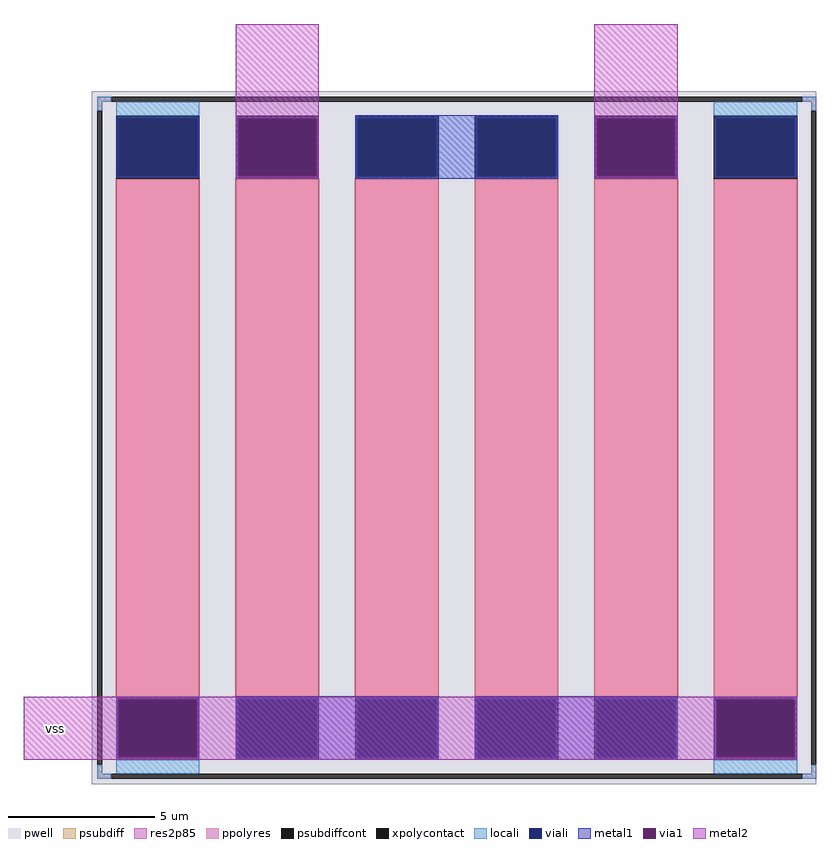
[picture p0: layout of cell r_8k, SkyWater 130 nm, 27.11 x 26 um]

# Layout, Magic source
magic
tech sky130A
magscale 1 2
<< pwell >>
rect -2496 -2369 2460 2369
<< psubdiff >>
rect -2460 2299 -2364 2333
rect 2364 2299 2460 2333
rect -2460 2237 -2426 2299
rect 2426 2237 2460 2299
rect -2460 -2299 -2426 -2237
rect 2426 -2299 2460 -2237
rect -2460 -2333 -2364 -2299
rect 2364 -2333 2460 -2299
<< psubdiffcont >>
rect -2364 2299 2364 2333
rect -2460 -2237 -2426 2237
rect 2426 -2237 2460 2237
rect -2364 -2333 2364 -2299
<< xpolycontact >>
rect -2330 1771 -1760 2203
rect -2330 -2203 -1760 -1771
rect -1512 1771 -942 2203
rect -1512 -2203 -942 -1771
rect -694 1771 -124 2203
rect -694 -2203 -124 -1771
rect 124 1771 694 2203
rect 124 -2203 694 -1771
rect 942 1771 1512 2203
rect 942 -2203 1512 -1771
rect 1760 1771 2330 2203
rect 1760 -2203 2330 -1771
<< ppolyres >>
rect -2330 -1771 -1760 1771
rect -1512 -1771 -942 1771
rect -694 -1771 -124 1771
rect 124 -1771 694 1771
rect 942 -1771 1512 1771
rect 1760 -1771 2330 1771
<< locali >>
rect -2460 2299 -2364 2333
rect 2364 2299 2460 2333
rect -2460 2237 -2426 2299
rect -2330 2203 -1760 2299
rect 1760 2203 2330 2299
rect 2426 2237 2460 2299
rect -2460 -2299 -2426 -2237
rect -2330 -2299 -1760 -2203
rect 1760 -2299 2330 -2203
rect 2426 -2299 2460 -2237
rect -2460 -2333 -2364 -2299
rect 2364 -2333 2460 -2299
<< viali >>
rect -2314 1788 -1776 2185
rect -1496 1788 -958 2185
rect -678 1788 -140 2185
rect 140 1788 678 2185
rect 958 1788 1496 2185
rect 1776 1788 2314 2185
rect -2314 -2185 -1776 -1788
rect -1496 -2185 -958 -1788
rect -678 -2185 -140 -1788
rect 140 -2185 678 -1788
rect 958 -2185 1496 -1788
rect 1776 -2185 2314 -1788
<< metal1 >>
rect -2326 2185 -1764 2191
rect -2326 1788 -2314 2185
rect -1776 1788 -1764 2185
rect -2326 1782 -1764 1788
rect -1508 2185 -946 2191
rect -1508 1788 -1496 2185
rect -958 1788 -946 2185
rect -1508 1782 -946 1788
rect -694 2185 694 2206
rect -694 1788 -678 2185
rect -140 1788 140 2185
rect 678 1788 694 2185
rect -694 1772 694 1788
rect 946 2185 1508 2191
rect 946 1788 958 2185
rect 1496 1788 1508 2185
rect 946 1782 1508 1788
rect 1764 2185 2326 2191
rect 1764 1788 1776 2185
rect 2314 1788 2326 2185
rect 1764 1782 2326 1788
rect -2330 -1788 -1760 -1771
rect -2330 -2185 -2314 -1788
rect -1776 -2185 -1760 -1788
rect -2330 -2203 -1760 -2185
rect -1512 -1788 -124 -1770
rect -1512 -2185 -1496 -1788
rect -958 -2185 -678 -1788
rect -140 -2185 -124 -1788
rect -1512 -2204 -124 -2185
rect 124 -1788 1512 -1768
rect 124 -2185 140 -1788
rect 678 -2185 958 -1788
rect 1496 -2185 1512 -1788
rect 124 -2202 1512 -2185
rect 1760 -1788 2330 -1771
rect 1760 -2185 1776 -1788
rect 2314 -2185 2330 -1788
rect 1760 -2203 2330 -2185
<< via1 >>
rect -1496 1788 -958 2185
rect 958 1788 1496 2185
rect -2314 -2185 -1776 -1788
rect 1776 -2185 2314 -1788
<< metal2 >>
rect -1512 2185 -942 2830
rect -1512 1788 -1496 2185
rect -958 1788 -942 2185
rect -1512 1771 -942 1788
rect 942 2185 1512 2830
rect 942 1788 958 2185
rect 1496 1788 1512 2185
rect 942 1771 1512 1788
rect -2962 -1788 2330 -1771
rect -2962 -2185 -2314 -1788
rect -1776 -2185 1776 -1788
rect 2314 -2185 2330 -1788
rect -2962 -2203 2330 -2185
<< res2p85 >>
rect -2332 -1773 -1758 1773
rect -1514 -1773 -940 1773
rect -696 -1773 -122 1773
rect 122 -1773 696 1773
rect 940 -1773 1514 1773
rect 1758 -1773 2332 1773
<< labels >>
rlabel metal2 -2962 -2203 -2530 -1771 3 vss
<< properties >>
string FIXED_BBOX -2443 -2316 2443 2316
string gencell sky130_fd_pr__res_high_po_2p85
string library sky130
string parameters w 2.850 l 17.71 m 1 nx 6 wmin 2.850 lmin 0.50 rho 319.8 val 2.0k dummy 0 dw 0.0 term 19.188 sterm 0.0 caplen 0 guard 1 glc 1 grc 1 gtc 1 gbc 1 compatible {sky130_fd_pr__res_high_po_0p35  sky130_fd_pr__res_high_po_0p69 sky130_fd_pr__res_high_po_1p41  sky130_fd_pr__res_high_po_2p85 sky130_fd_pr__res_high_po_5p73} full_metal 1 wmax 2.850 n_guard 0 hv_guard 0 vias 1 viagb 0 viagt 0 viagl 0 viagr 0
<< end >>
